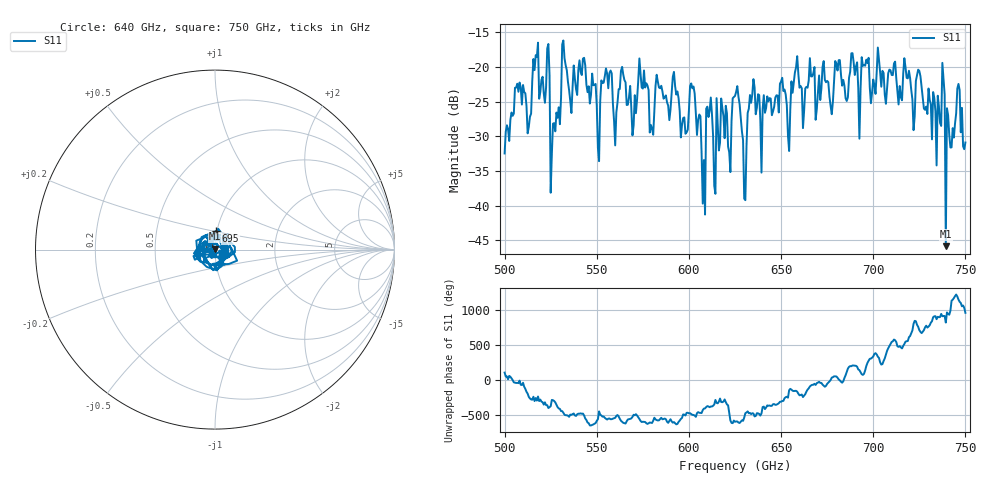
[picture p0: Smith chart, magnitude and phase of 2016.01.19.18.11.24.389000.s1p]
!Created with skrf (http://scikit-rf.org).
# GHz S RI R 50.0
!freq ReS11 ImS11
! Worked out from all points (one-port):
!   401 points, 500 GHz to 750 GHz, reference 50 ohm
!   lowest |S11| = -45.8 dB at 739.4 GHz (marker M1), VSWR 1.01, Z = 49.9 + j0.497 ohm
!   |S11| at or under -10 dB: start of sweep to end of sweep
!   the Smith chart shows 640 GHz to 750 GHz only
!   S11 on the Smith chart (normalised r, x): 640 GHz: 1.09, -0.06; 695 GHz: 0.99, +0.21; 750 GHz: 0.97, -0.05
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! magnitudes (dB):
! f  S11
! 500 GHz  -32.5
! 506.9 GHz  -22.4
! 513.1 GHz  -28.6
! 516.9 GHz  -18.3
! 523.1 GHz  -17.3
! 526.2 GHz  -28.2
! 531.2 GHz  -16.8
! 550.6 GHz  -31.7
! 562.5 GHz  -23.2
! 570 GHz  -28.4
! 574.4 GHz  -23.0
! 580 GHz  -28.9
! 593.8 GHz  -23.5
! 601.9 GHz  -23.1
! 607.5 GHz  -39.7
! 610.6 GHz  -27.2
! 615 GHz  -24.5
! 625 GHz  -24.2
! 630 GHz  -39.0
! 634.4 GHz  -24.0
! 640 GHz  -26.1
! 656.2 GHz  -23.7
! 687.5 GHz  -20.7
! 695 GHz  -19.7
! 718.8 GHz  -21.7
! 739.4 GHz  -45.8
! 746.9 GHz  -23.3
! 750 GHz  -30.9
